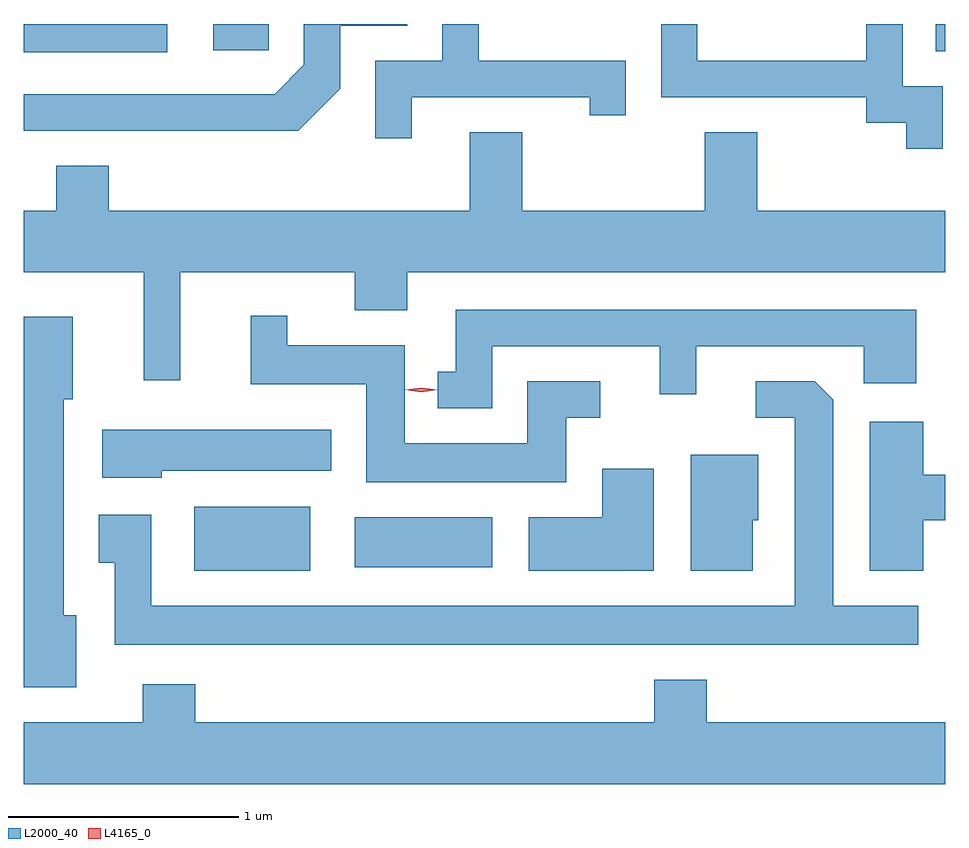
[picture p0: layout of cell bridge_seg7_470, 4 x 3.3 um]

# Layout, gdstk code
import gdstk
lib = gdstk.Library(unit=1e-6, precision=1e-09)
def R(c, l, rs):  # rectangles x0, y0, x1, y1
    for r in rs: c.add(gdstk.rectangle(r[:2], r[2:], *l))
def P(c, l, *ps):  # polygons
    for p in ps: c.add(gdstk.Polygon(p, *l))
L2000_40 = (2000, 40)
L4165_0 = (4165, 0)

bridge_seg7_470 = lib.new_cell('bridge_seg7_470')
R(bridge_seg7_470, L2000_40, [(1441.106,1704.141,1441.609,1704.419), (1441.801,1704.156,1442.399,1704.374), (1440.365,1706.391,1440.988,1706.514), (1444.323,1706.396,1444.365,1706.514), (1441.188,1706.401,1441.429,1706.514)])
P(bridge_seg7_470, L2000_40, [(1444.354,1706.244),(1444.179,1706.244),(1444.179,1706.514),(1444.021,1706.514),(1444.021,1706.354),(1443.289,1706.354),(1443.289,1706.514),(1443.131,1706.514),(1443.131,1706.196),(1444.021,1706.196),(1444.021,1706.086),(1444.196,1706.086),(1444.196,1705.973),(1444.354,1705.973)],
  [(1442.049,1706.196),(1442.821,1706.196),(1442.821,1706.118),(1442.979,1706.118),(1442.979,1706.354),(1442.339,1706.354),(1442.339,1706.514),(1442.181,1706.514),(1442.181,1706.354),(1441.891,1706.354),(1441.891,1706.018),(1442.049,1706.018)],
  [(1441.739,1706.234),(1441.739,1706.506),(1442.029,1706.506),(1442.029,1706.514),(1441.581,1706.514),(1441.581,1706.337),(1441.454,1706.209),(1440.365,1706.209),(1440.365,1706.051),(1441.557,1706.051)],
  [(1441.044,1705.436),(1441.801,1705.436),(1441.801,1705.271),(1442.029,1705.271),(1442.029,1705.436),(1444.365,1705.436),(1444.365,1705.704),(1443.549,1705.704),(1443.549,1706.044),(1443.321,1706.044),(1443.321,1705.704),(1442.529,1705.704),(1442.529,1706.044),(1442.301,1706.044),(1442.301,1705.704),(1440.734,1705.704),(1440.734,1705.899),(1440.506,1705.899),(1440.506,1705.704),(1440.365,1705.704),(1440.365,1705.436),(1440.886,1705.436),(1440.886,1704.968),(1441.044,1704.968)],
  [(1442.399,1705.116),(1443.126,1705.116),(1443.126,1704.908),(1443.284,1704.908),(1443.284,1705.116),(1444.011,1705.116),(1444.011,1704.956),(1444.239,1704.956),(1444.239,1705.274),(1442.241,1705.274),(1442.241,1705.004),(1442.163,1705.004),(1442.163,1704.846),(1442.399,1704.846)],
  [(1442.719,1704.806),(1442.868,1704.806),(1442.868,1704.964),(1442.551,1704.964),(1442.551,1704.694),(1442.019,1704.694),(1442.019,1705.119),(1441.509,1705.119),(1441.509,1705.248),(1441.351,1705.248),(1441.351,1704.951),(1441.851,1704.951),(1441.851,1704.526),(1442.719,1704.526)],
  [(1440.594,1703.949),(1440.539,1703.949),(1440.539,1704.886),(1440.579,1704.886),(1440.579,1705.244),(1440.365,1705.244),(1440.365,1703.636),(1440.594,1703.636)],
  [(1444.248,1703.989),(1443.879,1703.989),(1443.879,1704.884),(1443.799,1704.964),(1443.543,1704.964),(1443.543,1704.806),(1443.711,1704.806),(1443.711,1703.989),(1440.919,1703.989),(1440.919,1704.384),(1440.691,1704.384),(1440.691,1704.176),(1440.761,1704.176),(1440.761,1703.821),(1444.248,1703.821)],
  [(1444.269,1704.361),(1444.365,1704.361),(1444.365,1704.559),(1444.269,1704.559),(1444.269,1704.789),(1444.036,1704.789),(1444.036,1704.141),(1444.269,1704.141)],
  [(1440.964,1704.576),(1441.699,1704.576),(1441.699,1704.754),(1440.706,1704.754),(1440.706,1704.546),(1440.964,1704.546)],
  [(1443.529,1704.361),(1443.554,1704.361),(1443.554,1704.644),(1443.261,1704.644),(1443.261,1704.141),(1443.529,1704.141)],
  [(1443.099,1704.584),(1442.876,1704.584),(1442.876,1704.374),(1442.556,1704.374),(1442.556,1704.141),(1443.099,1704.141)],
  [(1444.365,1703.484),(1443.329,1703.484),(1443.329,1703.669),(1443.101,1703.669),(1443.101,1703.484),(1441.109,1703.484),(1441.109,1703.649),(1440.881,1703.649),(1440.881,1703.484),(1440.365,1703.484),(1440.365,1703.216),(1444.365,1703.216)])
P(bridge_seg7_470, L4165_0, [(1442.091,1704.916),(1442.022,1704.926),(1442.022,1704.926),(1442.022,1704.927),(1442.091,1704.936),(1442.161,1704.927),(1442.161,1704.926),(1442.161,1704.926)])

lib.write_gds('bridge_seg7_470.gds')
